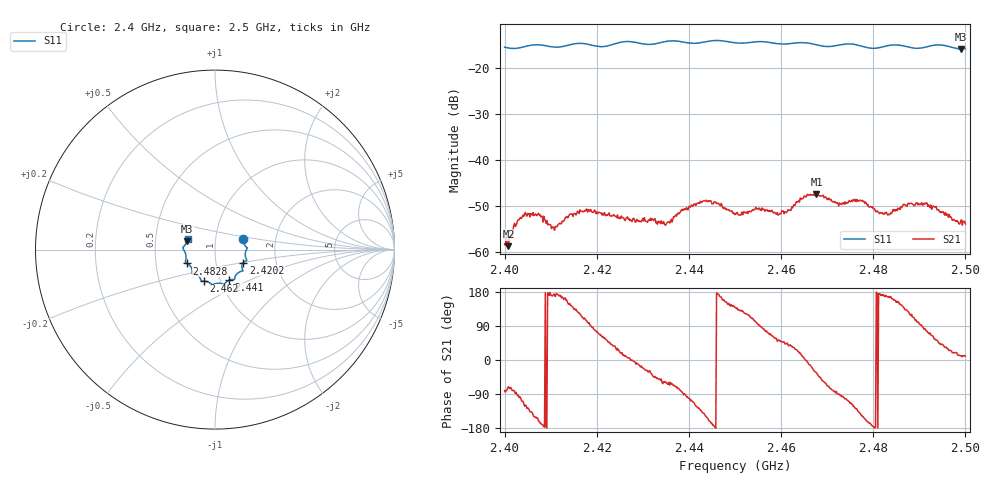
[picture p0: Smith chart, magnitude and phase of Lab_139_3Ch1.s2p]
# Hz S RI R 50
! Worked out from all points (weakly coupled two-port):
!   601 points, 2.4 GHz to 2.5 GHz, reference 50 ohm
!   highest |S21| = -47.36 dB at 2.4677 GHz (marker M1); lowest = -58.7 dB at 2.4008 GHz (marker M2)
!   lowest |S11| = -15.8 dB at 2.499 GHz (marker M3), VSWR 1.39, Z = 36.4 + j3.54 ohm
!   |S11| at or under -10 dB: start of sweep to end of sweep
!   S12 and S22 are empty: the file has one direction only
!   S11 on the Smith chart (normalised r, x): 2.4 GHz: 1.36, +0.17; 2.4202 GHz: 1.36, -0.20; 2.441 GHz: 1.10, -0.39; 2.462 GHz: 0.84, -0.30; 2.4828 GHz: 0.72, -0.11; 2.5 GHz: 0.73, +0.09
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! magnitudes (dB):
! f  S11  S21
! 2.4 GHz  -15.4  -58.1
! 2.4008 GHz  -15.6  -58.7
! 2.4045 GHz  -15.2  -51.4
! 2.4077 GHz  -14.9  -51.8
! 2.4107 GHz  -15.4  -54.7
! 2.4167 GHz  -14.6  -51.0
! 2.4202 GHz  -15.2  -51.6
! 2.4333 GHz  -14.5  -53.2
! 2.4353 GHz  -14.1  -53.5
! 2.441 GHz  -14.5  -49.7
! 2.4443 GHz  -14.1  -48.9
! 2.45 GHz  -14.4  -51.8
! 2.462 GHz  -14.6  -50.9
! 2.4667 GHz  -14.6  -47.5
! 2.4677 GHz  -14.9  -47.4
! 2.4727 GHz  -14.9  -49.3
! 2.4775 GHz  -15.2  -48.8
! 2.4828 GHz  -15.1  -51.3
! 2.4833 GHz  -15.0  -51.7
! 2.4915 GHz  -15.3  -49.4
! 2.499 GHz  -15.8  -53.1
! 2.5 GHz  -15.7  -53.8
